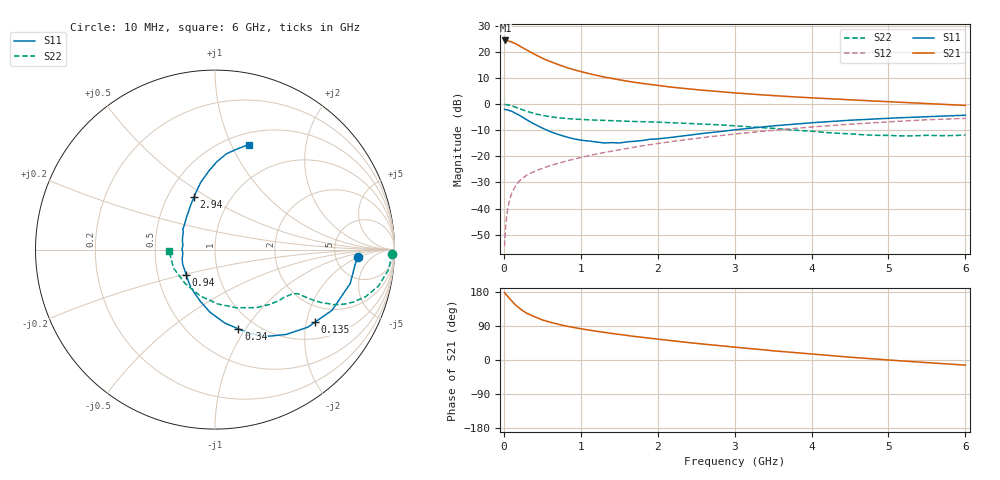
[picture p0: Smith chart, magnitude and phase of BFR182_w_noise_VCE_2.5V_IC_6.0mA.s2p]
! Infineon Technologies  Discrete & RF Semiconductors
! BFR182
! VCE =  2.5 V,  IC =  6.0 mA
! Common Emitter S-Parameters:  Nov 2015
# GHz  S  MA  R  50
!  f  S11  S21  S12  S22
! GHz  MAG  ANG  MAG  ANG  MAG  ANG  MAG  ANG
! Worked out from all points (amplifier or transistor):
!   210 points, 10 MHz to 6 GHz, reference 50 ohm
!   highest |S21| = 24.4 dB at 20 MHz (marker M1)
!   |S21| within 3 dB of that: start of sweep to 257.7 MHz
!   unconditionally stable (mu >= 1): 972.4 MHz to 2.773 GHz
!   at 185 MHz: K = 0.38, MSG = 26.3 dB, |S12| = -30.0 dB
!   at 1.52 GHz: K = 1.06, MAG = 11.8 dB, |S12| = -17.3 dB
!   at 6 GHz: K = 0.89, MSG = 2.5 dB, |S12| = -5.4 dB
!   lowest NFmin = 1.20 dB at 450 MHz
!   S11 on the Smith chart (normalised r, x): 10 MHz: 8.35, -1.96; 135 MHz: 1.47, -2.25; 340 MHz: 0.83, -0.93; 940 MHz: 0.70, -0.20; 2.94 GHz: 0.67, +0.44; 6 GHz: 0.62, +1.17
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0.01  0.7962 -3.1  16.61 177.5  0.0019 89.4  0.9891 -1.3
0.02  0.7858 -5.8  16.64 174.8  0.0039 88.0  0.983 -2.7
0.05  0.7769 -14.1  16.48 167.7  0.0099 81.8  0.9733 -6.6
0.1  0.7346 -27.4  15.54 156.4  0.0191 77.5  0.9336 -12.5
0.135  0.6885 -35.9  14.74 148.7  0.0245 72.5  0.8946 -15.9
0.15  0.6739 -39.9  14.49 145.1  0.0268 71.0  0.8789 -17.4
0.2  0.6164 -50.1  13.17 136.9  0.0335 67.7  0.824 -20.8
0.3  0.4985 -68.5  10.87 122.9  0.0437 63.6  0.7274 -24.9
0.34  0.4609 -73.5  10.1 119.6  0.0468 62.8  0.699 -25.5
0.4  0.4124 -82.5  9.029 113.6  0.0515 61.8  0.6566 -26.6
0.5  0.3491 -94.8  7.562 105.8  0.059 61.3  0.6096 -27.3
0.6  0.2994 -105.8  6.578 99.6  0.0663 61.5  0.576 -27.6
0.76  0.2482 -122.4  5.387 91.8  0.0775 62.2  0.5399 -27.9
0.94  0.2123 -139.1  4.447 84.6  0.0907 62.9  0.5159 -28.4
1.02  0.203 -147.3  4.139 81.9  0.0966 63.1  0.5083 -28.9
1.4  0.1835 178.8  3.109 70.2  0.1257 63.8  0.4825 -32.0
2.02  0.2175 142.2  2.263 54.7  0.178 61.7  0.4518 -39.5
2.94  0.3144 112.1  1.673 35.0  0.2621 55.4  0.3908 -55.7
3.1  0.3338 108.8  1.605 32.0  0.2772 53.8  0.3763 -59.4
4.1  0.4503 93.1  1.299 14.2  0.3741 43.5  0.2939 -90.8
5.1  0.5455 81.9  1.099 -1.4  0.4674 31.2  0.2484 -135.9
6  0.6142 72.2  0.946 -13.5  0.5346 18.6  0.2561 -178.8
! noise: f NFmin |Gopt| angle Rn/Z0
0.45  1.2  0.27  37  0.3
0.9  1.3  0.25  75  0.23
1.8  1.9  0.21  145  0.2
